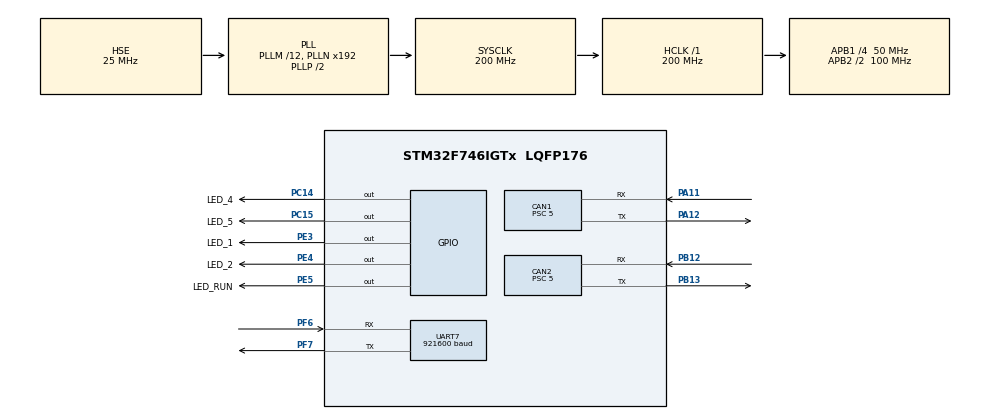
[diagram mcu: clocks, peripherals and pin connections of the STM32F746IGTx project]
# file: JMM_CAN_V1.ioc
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CAN1.ABOM=ENABLE
CAN1.BS1=CAN_BS1_6TQ
CAN1.BS2=CAN_BS2_3TQ
CAN1.CalculateBaudRate=1000000
CAN1.CalculateTimeBit=1000
CAN1.CalculateTimeQuantum=100.0
CAN1.Prescaler=5
CAN2.ABOM=ENABLE
CAN2.BS1=CAN_BS1_6TQ
CAN2.BS2=CAN_BS2_3TQ
CAN2.CalculateBaudRate=1000000
CAN2.CalculateTimeBit=1000
CAN2.CalculateTimeQuantum=100.0
CAN2.Prescaler=5
Mcu.Family=STM32F7
Mcu.Name=STM32F746IGTx
Mcu.Package=LQFP176
NVIC.CAN1_RX0_IRQn=true\:0\:0\:false\:false\:true\:true\:true
NVIC.CAN1_TX_IRQn=true\:0\:0\:false\:false\:true\:true\:true
NVIC.CAN2_RX0_IRQn=true\:0\:0\:false\:false\:true\:true\:true
NVIC.CAN2_TX_IRQn=true\:0\:0\:false\:false\:true\:true\:true
NVIC.PriorityGroup=NVIC_PRIORITYGROUP_4
NVIC.UART7_IRQn=true\:0\:0\:false\:false\:true\:true\:true
PA11.Mode=CAN_Activate
PA11.Signal=CAN1_RX
PA12.Mode=CAN_Activate
PA12.Signal=CAN1_TX
PA13.Mode=Serial_Wire
PA13.Signal=SYS_JTMS-SWDIO
PA14.Mode=Serial_Wire
PA14.Signal=SYS_JTCK-SWCLK
PB12.Mode=CAN_Activate
PB12.Signal=CAN2_RX
PB13.Mode=CAN_Activate
PB13.Signal=CAN2_TX
PC14/OSC32_IN.GPIO_Label=LED_4
PC14/OSC32_IN.PinState=GPIO_PIN_SET
PC14/OSC32_IN.Signal=GPIO_Output
PC15/OSC32_OUT.GPIO_Label=LED_5
PC15/OSC32_OUT.PinState=GPIO_PIN_SET
PC15/OSC32_OUT.Signal=GPIO_Output
PE3.GPIO_Label=LED_1
PE3.PinState=GPIO_PIN_SET
PE3.Signal=GPIO_Output
PE4.GPIO_Label=LED_2
PE4.PinState=GPIO_PIN_SET
PE4.Signal=GPIO_Output
PE5.GPIO_Label=LED_RUN
PE5.PinState=GPIO_PIN_SET
PE5.Signal=GPIO_Output
PF6.Mode=Asynchronous
PF6.Signal=UART7_RX
PF7.Mode=Asynchronous
PF7.Signal=UART7_TX
PH0/OSC_IN.Mode=HSE-External-Oscillator
PH0/OSC_IN.Signal=RCC_OSC_IN
PH1/OSC_OUT.Mode=HSE-External-Oscillator
PH1/OSC_OUT.Signal=RCC_OSC_OUT
ProjectManager.HeapSize=0x200
ProjectManager.StackSize=0x400
ProjectManager.TargetToolchain=STM32CubeIDE
RCC.AHBFreq_Value=200000000
RCC.APB1CLKDivider=RCC_HCLK_DIV4
RCC.APB1Freq_Value=50000000
RCC.APB1TimFreq_Value=100000000
RCC.APB2CLKDivider=RCC_HCLK_DIV2
RCC.APB2Freq_Value=100000000
RCC.APB2TimFreq_Value=200000000
RCC.CortexFreq_Value=200000000
RCC.HCLKFreq_Value=200000000
RCC.HSE_VALUE=25000000
RCC.HSI_VALUE=16000000
RCC.LSE_VALUE=32768
RCC.PLLM=12
RCC.PLLSourceVirtual=RCC_PLLSOURCE_HSE
RCC.PWR_Regulator_Voltage_Scale=PWR_REGULATOR_VOLTAGE_SCALE1
RCC.SYSCLKFreq_VALUE=200000000
RCC.SYSCLKSource=RCC_SYSCLKSOURCE_PLLCLK
RCC.USBFreq_Value=200000000
RCC.VCOOutputFreq_Value=400000000
UART7.BaudRate=921600
UART7.SwapParam=UART_ADVFEATURE_SWAP_DISABLE
board=custom

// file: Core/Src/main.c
/* USER CODE BEGIN Header */
/**
  ******************************************************************************
  * @file           : main.c
  * @brief          : Main program body
  ******************************************************************************
  * @attention
  *
  * <h2><center>&copy; Copyright (c) 2022 STMicroelectronics.
  * All rights reserved.</center></h2>
  *
  * This software component is licensed by ST under BSD 3-Clause license,
  * the "License"; You may not use this file except in compliance with the
  * License. You may obtain a copy of the License at:
  *                        opensource.org/licenses/BSD-3-Clause
  *
  ******************************************************************************
  */
/* USER CODE END Header */
#include "main.h"

/* USER CODE BEGIN Includes */
#include "uart.h"
#include "uart_datalink.h"

#include "can_com.h"
#include "can_datalink.h"
#include "non_stop_delay_main.h"

#include "app_pid_init_cmd.h"
#include "app_pid_midi_cmd.h"
#include "prtc_data_pid_midi.h"

#include "can2_com_manager.h"
#include "filter_manager.h"

/* USER CODE END Includes */

CAN_HandleTypeDef hcan1;
CAN_HandleTypeDef hcan2;

UART_HandleTypeDef huart7;

/* USER CODE BEGIN PV */
uint8_t my_can_id;
MAL_CAN_HandleTypeDef mcan1;
MAL_CAN_HandleTypeDef mcan2;

extern MotionData_TypeDef motion;
/* USER CODE END PV */

void SystemClock_Config(void);
static void MX_GPIO_Init(void);
static void MX_CAN1_Init(void);
static void MX_CAN2_Init(void);
static void MX_UART7_Init(void);

/* USER CODE BEGIN 0 */
void MAL_CAN1_Init(void)
{
	MAL_CAN_FilterConfig(&hcan1);
	//MAL_CAN_HandleMatching(&mcan1,&hcan1);
	//MAL_CAN_LEDInit(&mcan1.txLed, LED_1_GPIO_Port, LED_1_Pin, GPIO_PIN_RESET);
	//MAL_CAN_LEDInit(&mcan1.rxLed, LED_2_GPIO_Port, LED_2_Pin, GPIO_PIN_RESET);
}
void MAL_CAN2_Init(void)
{
	MAL_CAN_FilterConfig(&hcan2);
	MAL_CAN_HandleMatching(&mcan2,&hcan2);
	MAL_CAN_JMM_HandleMatching(&mcan2);
	MAL_CAN_LEDInit(&mcan2.txLed, LED_1_GPIO_Port, LED_1_Pin, GPIO_PIN_RESET);
	MAL_CAN_LEDInit(&mcan2.rxLed, LED_2_GPIO_Port, LED_2_Pin, GPIO_PIN_RESET);
}
void MAL_UART_7_Init(void)
{
	MAL_UART_HandleMatching(&muart7,&huart7);
	MAL_UART_Parsing_HandleReg(&muart7);
	MAL_UART_RxAppointment(&muart7);

	MAL_UART_LEDInit(&muart7.txLed, LED_4_GPIO_Port, LED_4_Pin, GPIO_PIN_RESET);
	MAL_UART_LEDInit(&muart7.rxLed, LED_5_GPIO_Port, LED_5_Pin, GPIO_PIN_RESET);
}

void filter_Init(void)
{
	filter_data_reg(&motion);
}
/* USER CODE END 0 */

int main(void)
{
  /* USER CODE BEGIN 1 */
	uint32_t t_delay = 0;
  /* USER CODE END 1 */

  /* MCU Configuration--------------------------------------------------------*/

  /* Reset of all peripherals, Initializes the Flash interface and the Systick. */
  HAL_Init();

  /* Configure the system clock */
  SystemClock_Config();

  /* Initialize all configured peripherals */
  MX_GPIO_Init();
  MX_CAN1_Init();
  MX_CAN2_Init();
  MX_UART7_Init();
  /* USER CODE BEGIN 2 */
  MAL_UART_7_Init();
  MAL_CAN1_Init();
  MAL_CAN2_Init();

  can_init_data_save(&hcan1);
  filter_Init();

  //부팅시 버튼활성화
  app_tx_edit_sub_pid_action_ctl(0, 0, my_can_id, MASTER_CAN_ID, 0, 0,
			EDIT_ACTION_KEY_POSITION_START);
  /* USER CODE END 2 */

  /* Infinite loop */
  while (1)
  {

    /* USER CODE BEGIN 3 */
	  proc_can_rx();
	  proc_can_tx();
	  MAL_CAN_Process();
	  UART_COM_Process();
	  filter_manager();
	  newDataProcess();
	  if(MAL_NonStopDelay(&t_delay, 500))
	  {
		  HAL_GPIO_TogglePin(LED_RUN_GPIO_Port, LED_RUN_Pin);
	  }
  }
  /* USER CODE END 3 */
}

void SystemClock_Config(void)
{
  RCC_OscInitTypeDef RCC_OscInitStruct = {0};
  RCC_ClkInitTypeDef RCC_ClkInitStruct = {0};

  /** Configure the main internal regulator output voltage
  */
  __HAL_RCC_PWR_CLK_ENABLE();
  __HAL_PWR_VOLTAGESCALING_CONFIG(PWR_REGULATOR_VOLTAGE_SCALE1);
  /** Initializes the RCC Oscillators according to the specified parameters
  * in the RCC_OscInitTypeDef structure.
  */
  RCC_OscInitStruct.OscillatorType = RCC_OSCILLATORTYPE_HSE;
  RCC_OscInitStruct.HSEState = RCC_HSE_ON;
  RCC_OscInitStruct.PLL.PLLState = RCC_PLL_ON;
  RCC_OscInitStruct.PLL.PLLSource = RCC_PLLSOURCE_HSE;
  RCC_OscInitStruct.PLL.PLLM = 12;
  RCC_OscInitStruct.PLL.PLLN = 192;
  RCC_OscInitStruct.PLL.PLLP = RCC_PLLP_DIV2;
  RCC_OscInitStruct.PLL.PLLQ = 2;
  if (HAL_RCC_OscConfig(&RCC_OscInitStruct) != HAL_OK)
  {
    Error_Handler();
  }
  /** Activate the Over-Drive mode
  */
  if (HAL_PWREx_EnableOverDrive() != HAL_OK)
  {
    Error_Handler();
  }
  /** Initializes the CPU, AHB and APB buses clocks
  */
  RCC_ClkInitStruct.ClockType = RCC_CLOCKTYPE_HCLK|RCC_CLOCKTYPE_SYSCLK
                              |RCC_CLOCKTYPE_PCLK1|RCC_CLOCKTYPE_PCLK2;
  RCC_ClkInitStruct.SYSCLKSource = RCC_SYSCLKSOURCE_PLLCLK;
  RCC_ClkInitStruct.AHBCLKDivider = RCC_SYSCLK_DIV1;
  RCC_ClkInitStruct.APB1CLKDivider = RCC_HCLK_DIV4;
  RCC_ClkInitStruct.APB2CLKDivider = RCC_HCLK_DIV2;

  if (HAL_RCC_ClockConfig(&RCC_ClkInitStruct, FLASH_LATENCY_6) != HAL_OK)
  {
    Error_Handler();
  }
}

static void MX_CAN1_Init(void)
{

  hcan1.Instance = CAN1;
  hcan1.Init.Prescaler = 5;
  hcan1.Init.Mode = CAN_MODE_NORMAL;
  hcan1.Init.SyncJumpWidth = CAN_SJW_1TQ;
  hcan1.Init.TimeSeg1 = CAN_BS1_6TQ;
  hcan1.Init.TimeSeg2 = CAN_BS2_3TQ;
  hcan1.Init.TimeTriggeredMode = DISABLE;
  hcan1.Init.AutoBusOff = ENABLE;
  hcan1.Init.AutoWakeUp = DISABLE;
  hcan1.Init.AutoRetransmission = DISABLE;
  hcan1.Init.ReceiveFifoLocked = DISABLE;
  hcan1.Init.TransmitFifoPriority = DISABLE;
  if (HAL_CAN_Init(&hcan1) != HAL_OK)
  {
    Error_Handler();
  }

}

static void MX_CAN2_Init(void)
{

  hcan2.Instance = CAN2;
  hcan2.Init.Prescaler = 5;
  hcan2.Init.Mode = CAN_MODE_NORMAL;
  hcan2.Init.SyncJumpWidth = CAN_SJW_1TQ;
  hcan2.Init.TimeSeg1 = CAN_BS1_6TQ;
  hcan2.Init.TimeSeg2 = CAN_BS2_3TQ;
  hcan2.Init.TimeTriggeredMode = DISABLE;
  hcan2.Init.AutoBusOff = ENABLE;
  hcan2.Init.AutoWakeUp = DISABLE;
  hcan2.Init.AutoRetransmission = DISABLE;
  hcan2.Init.ReceiveFifoLocked = DISABLE;
  hcan2.Init.TransmitFifoPriority = DISABLE;
  if (HAL_CAN_Init(&hcan2) != HAL_OK)
  {
    Error_Handler();
  }

}

static void MX_UART7_Init(void)
{

  huart7.Instance = UART7;
  huart7.Init.BaudRate = 921600;
  huart7.Init.WordLength = UART_WORDLENGTH_8B;
  huart7.Init.StopBits = UART_STOPBITS_1;
  huart7.Init.Parity = UART_PARITY_NONE;
  huart7.Init.Mode = UART_MODE_TX_RX;
  huart7.Init.HwFlowCtl = UART_HWCONTROL_NONE;
  huart7.Init.OverSampling = UART_OVERSAMPLING_16;
  huart7.Init.OneBitSampling = UART_ONE_BIT_SAMPLE_DISABLE;
  huart7.AdvancedInit.AdvFeatureInit = UART_ADVFEATURE_NO_INIT;
  if (HAL_UART_Init(&huart7) != HAL_OK)
  {
    Error_Handler();
  }

}

static void MX_GPIO_Init(void)
{
  GPIO_InitTypeDef GPIO_InitStruct = {0};

  /* GPIO Ports Clock Enable */
  __HAL_RCC_GPIOE_CLK_ENABLE();
  __HAL_RCC_GPIOC_CLK_ENABLE();
  __HAL_RCC_GPIOF_CLK_ENABLE();
  __HAL_RCC_GPIOH_CLK_ENABLE();
  __HAL_RCC_GPIOB_CLK_ENABLE();
  __HAL_RCC_GPIOA_CLK_ENABLE();

  /*Configure GPIO pin Output Level */
  HAL_GPIO_WritePin(GPIOE, LED_1_Pin|LED_2_Pin|LED_RUN_Pin, GPIO_PIN_SET);

  /*Configure GPIO pin Output Level */
  HAL_GPIO_WritePin(GPIOC, LED_4_Pin|LED_5_Pin, GPIO_PIN_SET);

  /*Configure GPIO pins : LED_1_Pin LED_2_Pin LED_RUN_Pin */
  GPIO_InitStruct.Pin = LED_1_Pin|LED_2_Pin|LED_RUN_Pin;
  GPIO_InitStruct.Mode = GPIO_MODE_OUTPUT_PP;
  GPIO_InitStruct.Pull = GPIO_NOPULL;
  GPIO_InitStruct.Speed = GPIO_SPEED_FREQ_LOW;
  HAL_GPIO_Init(GPIOE, &GPIO_InitStruct);

  /*Configure GPIO pins : LED_4_Pin LED_5_Pin */
  GPIO_InitStruct.Pin = LED_4_Pin|LED_5_Pin;
  GPIO_InitStruct.Mode = GPIO_MODE_OUTPUT_PP;
  GPIO_InitStruct.Pull = GPIO_NOPULL;
  GPIO_InitStruct.Speed = GPIO_SPEED_FREQ_LOW;
  HAL_GPIO_Init(GPIOC, &GPIO_InitStruct);

}

void Error_Handler(void)
{
  __disable_irq();
  while (1)
  {
  }
}
